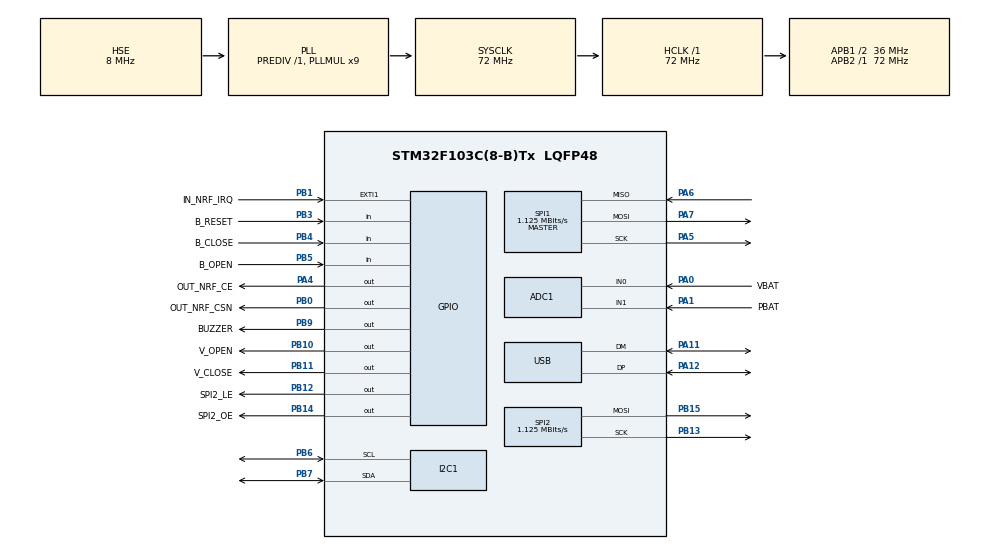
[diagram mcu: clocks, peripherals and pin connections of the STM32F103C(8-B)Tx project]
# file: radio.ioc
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ADC1.Channel-0\#ChannelRegularConversion=ADC_CHANNEL_0
ADC1.Channel-1\#ChannelRegularConversion=ADC_CHANNEL_1
ADC1.NbrOfConversion=2
ADC1.NbrOfConversionFlag=1
ADC1.Rank-0\#ChannelRegularConversion=1
ADC1.Rank-1\#ChannelRegularConversion=2
ADC1.SamplingTime-0\#ChannelRegularConversion=ADC_SAMPLETIME_239CYCLES_5
ADC1.SamplingTime-1\#ChannelRegularConversion=ADC_SAMPLETIME_239CYCLES_5
ADC1.master=1
Dma.ADC1.0.Direction=DMA_PERIPH_TO_MEMORY
Dma.ADC1.0.Instance=DMA1_Channel1
Dma.ADC1.0.MemDataAlignment=DMA_MDATAALIGN_WORD
Dma.ADC1.0.MemInc=DMA_MINC_ENABLE
Dma.ADC1.0.Mode=DMA_NORMAL
Dma.ADC1.0.PeriphDataAlignment=DMA_PDATAALIGN_WORD
Dma.ADC1.0.PeriphInc=DMA_PINC_DISABLE
Dma.ADC1.0.Priority=DMA_PRIORITY_LOW
Dma.Request0=ADC1
FREERTOS.Tasks01=defaultTask,24,128,StartDefaultTask,Default,NULL,Dynamic,NULL,NULL;Task01,24,128,StartTask01,Default,NULL,Dynamic,NULL,NULL;Task02,24,128,StartTask02,Default,NULL,Dynamic,NULL,NULL
Mcu.Family=STM32F1
Mcu.Name=STM32F103C(8-B)Tx
Mcu.Package=LQFP48
NVIC.ADC1_2_IRQn=true\:5\:0\:false\:false\:true\:true\:true\:true
NVIC.DMA1_Channel1_IRQn=true\:5\:0\:false\:false\:true\:true\:false\:true
NVIC.EXTI1_IRQn=true\:5\:0\:false\:false\:true\:false\:true\:true
NVIC.PriorityGroup=NVIC_PRIORITYGROUP_4
NVIC.SPI1_IRQn=true\:5\:0\:false\:false\:true\:false\:true\:true
NVIC.SPI2_IRQn=true\:5\:0\:false\:false\:true\:true\:true\:true
NVIC.TIM1_UP_IRQn=true\:15\:0\:false\:false\:true\:false\:false\:true
NVIC.TIM2_IRQn=true\:5\:0\:false\:false\:true\:false\:true\:true
NVIC.TIM3_IRQn=true\:5\:0\:false\:false\:true\:true\:true\:true
NVIC.TimeBase=TIM1_UP_IRQn
NVIC.TimeBaseIP=TIM1
NVIC.USB_HP_CAN1_TX_IRQn=true\:5\:0\:false\:false\:true\:true\:true\:true
NVIC.USB_LP_CAN1_RX0_IRQn=true\:5\:0\:false\:false\:true\:true\:true\:true
PA0-WKUP.GPIO_Label=VBAT
PA0-WKUP.Signal=ADCx_IN0
PA1.GPIO_Label=PBAT
PA1.Signal=ADCx_IN1
PA11.Mode=Device
PA11.Signal=USB_DM
PA12.Mode=Device
PA12.Signal=USB_DP
PA13.Mode=Serial_Wire
PA13.Signal=SYS_JTMS-SWDIO
PA14.Mode=Serial_Wire
PA14.Signal=SYS_JTCK-SWCLK
PA4.GPIO_Label=OUT_NRF_CE
PA4.GPIO_PuPd=GPIO_PULLDOWN
PA4.PinState=GPIO_PIN_RESET
PA4.Signal=GPIO_Output
PA5.Mode=Full_Duplex_Master
PA5.Signal=SPI1_SCK
PA6.Mode=Full_Duplex_Master
PA6.Signal=SPI1_MISO
PA7.Mode=Full_Duplex_Master
PA7.Signal=SPI1_MOSI
PB0.GPIO_Label=OUT_NRF_CSN
PB0.GPIO_PuPd=GPIO_PULLUP
PB0.GPIO_Speed=GPIO_SPEED_FREQ_LOW
PB0.PinState=GPIO_PIN_SET
PB0.Signal=GPIO_Output
PB1.GPIO_Label=IN_NRF_IRQ
PB1.GPIO_ModeDefaultEXTI=GPIO_MODE_IT_FALLING
PB1.GPIO_PuPd=GPIO_NOPULL
PB1.Signal=GPXTI1
PB10.GPIO_Label=V_OPEN
PB10.GPIO_PuPd=GPIO_PULLDOWN
PB10.Signal=GPIO_Output
PB11.GPIO_Label=V_CLOSE
PB11.GPIO_PuPd=GPIO_PULLDOWN
PB11.Signal=GPIO_Output
PB12.GPIO_Label=SPI2_LE
PB12.GPIO_PuPd=GPIO_PULLDOWN
PB12.PinState=GPIO_PIN_RESET
PB12.Signal=GPIO_Output
PB13.Mode=TX_Only_Simplex_Unidirect_Master
PB13.Signal=SPI2_SCK
PB14.GPIO_Label=SPI2_OE
PB14.GPIO_PuPd=GPIO_PULLUP
PB14.PinState=GPIO_PIN_SET
PB14.Signal=GPIO_Output
PB15.Mode=TX_Only_Simplex_Unidirect_Master
PB15.Signal=SPI2_MOSI
PB3.GPIO_Label=B_RESET
PB3.GPIO_PuPd=GPIO_PULLUP
PB3.Signal=GPIO_Input
PB4.GPIO_Label=B_CLOSE
PB4.GPIO_PuPd=GPIO_PULLUP
PB4.Signal=GPIO_Input
PB5.GPIO_Label=B_OPEN
PB5.GPIO_PuPd=GPIO_PULLUP
PB5.Signal=GPIO_Input
PB6.Mode=I2C
PB6.Signal=I2C1_SCL
PB7.Mode=I2C
PB7.Signal=I2C1_SDA
PB9.GPIO_Label=BUZZER
PB9.GPIO_PuPd=GPIO_PULLDOWN
PB9.Signal=GPIO_Output
PC14-OSC32_IN.Mode=LSE-External-Oscillator
PC14-OSC32_IN.Signal=RCC_OSC32_IN
PC15-OSC32_OUT.Mode=LSE-External-Oscillator
PC15-OSC32_OUT.Signal=RCC_OSC32_OUT
PD0-OSC_IN.Mode=HSE-External-Oscillator
PD0-OSC_IN.Signal=RCC_OSC_IN
PD1-OSC_OUT.Mode=HSE-External-Oscillator
PD1-OSC_OUT.Signal=RCC_OSC_OUT
ProjectManager.HeapSize=0x200
ProjectManager.StackSize=0x400
ProjectManager.TargetToolchain=MDK-ARM V5
RCC.ADCPresc=RCC_ADCPCLK2_DIV6
RCC.AHBFreq_Value=72000000
RCC.APB1CLKDivider=RCC_HCLK_DIV2
RCC.APB1Freq_Value=36000000
RCC.APB1TimFreq_Value=72000000
RCC.APB2Freq_Value=72000000
RCC.APB2TimFreq_Value=72000000
RCC.EnbaleCSS=true
RCC.HCLKFreq_Value=72000000
RCC.LSE_Timout=100
RCC.PLLMUL=RCC_PLL_MUL9
RCC.PLLSourceVirtual=RCC_PLLSOURCE_HSE
RCC.RTCClockSelection=RCC_RTCCLKSOURCE_LSE
RCC.SYSCLKFreq_VALUE=72000000
RCC.SYSCLKSource=RCC_SYSCLKSOURCE_PLLCLK
RCC.USBFreq_Value=48000000
RCC.USBPrescaler=RCC_USBCLKSOURCE_PLL_DIV1_5
RTC.Format=RTC_FORMAT_BIN
SH.ADCx_IN0.0=ADC1_IN0,IN0
SH.ADCx_IN1.0=ADC1_IN1,IN1
SPI1.BaudRatePrescaler=SPI_BAUDRATEPRESCALER_64
SPI1.CalculateBaudRate=1.125 MBits/s
SPI1.Direction=SPI_DIRECTION_2LINES
SPI1.Mode=SPI_MODE_MASTER
SPI1.VirtualType=VM_MASTER
SPI2.BaudRatePrescaler=SPI_BAUDRATEPRESCALER_32
SPI2.CalculateBaudRate=1.125 MBits/s
SPI2.Direction=SPI_DIRECTION_2LINES
SPI2.Mode=SPI_MODE_MASTER
SPI2.VirtualType=VM_MASTER
TIM2.Period=10
TIM2.Prescaler=7199
TIM3.Period=10
TIM3.Prescaler=7199
USB_DEVICE.APP_RX_DATA_SIZE=128
USB_DEVICE.APP_TX_DATA_SIZE=128
USB_DEVICE.CLASS_NAME_FS=CDC
USB_DEVICE.PRODUCT_STRING_CDC_FS=Water Leakage Controller
USB_DEVICE.USBD_MAX_STR_DESC_SIZ=64
USB_DEVICE.USBD_SELF_POWERED=1
USB_DEVICE.VirtualMode=Cdc
USB_DEVICE.VirtualModeFS=Cdc_FS
VP_FREERTOS_VS_CMSIS_V2.Mode=CMSIS_V2
VP_RTC_VS_RTC_Activate.Mode=RTC_Enabled
VP_SYS_VS_tim1.Mode=TIM1
VP_TIM2_VS_ClockSourceINT.Mode=Internal
VP_TIM3_VS_ClockSourceINT.Mode=Internal
VP_USB_DEVICE_VS_USB_DEVICE_CDC_FS.Mode=CDC_FS
board=custom

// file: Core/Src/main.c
/* USER CODE BEGIN Header */
/**
  ******************************************************************************
  * @file           : main.c
  * @brief          : Main program body
  ******************************************************************************
  * @attention
  *
  * <h2><center>&copy; Copyright (c) 2020 STMicroelectronics.
  * All rights reserved.</center></h2>
  *
  * This software component is licensed by ST under Ultimate Liberty license
  * SLA0044, the "License"; You may not use this file except in compliance with
  * the License. You may obtain a copy of the License at:
  *                             www.st.com/SLA0044
  *
  ******************************************************************************
  */
/* USER CODE END Header */
#include "main.h"
#include "cmsis_os.h"
#include "adc.h"
#include "dma.h"
#include "i2c.h"
#include "rtc.h"
#include "spi.h"
#include "tim.h"
#include "usb_device.h"
#include "gpio.h"

/* USER CODE BEGIN Includes */
#include "hal_my_lib.h"
#include "rtc.h"
/* USER CODE END Includes */

void SystemClock_Config(void);
void MX_FREERTOS_Init(void);

int main(void)
{

  /* MCU Configuration--------------------------------------------------------*/

  /* Reset of all peripherals, Initializes the Flash interface and the Systick. */
  HAL_Init();

  /* Configure the system clock */
  SystemClock_Config();

  /* Initialize all configured peripherals */
  MX_GPIO_Init();
  MX_RTC_Init();
  MX_SPI1_Init();
  MX_TIM2_Init();
  MX_DMA_Init();
  MX_ADC1_Init();
  MX_SPI2_Init();
  MX_I2C1_Init();
  MX_TIM3_Init();
  /* USER CODE BEGIN 2 */
//	if(MYLIB_READ_BIT(RCC->CSR, RCC_CSR_PORRSTF_Pos))
//	{
//		MYLIB_SET_BIT(RCC->CSR, RCC_CSR_RMVF_Pos);
//		HAL_NVIC_SystemReset();
//	}
  /* USER CODE END 2 */

  /* Init scheduler */
  osKernelInitialize();  /* Call init function for freertos objects (in freertos.c) */
  MX_FREERTOS_Init();
  /* Start scheduler */
  osKernelStart();

  /* We should never get here as control is now taken by the scheduler */
  /* Infinite loop */
  while (1)
  {

  }
}

void SystemClock_Config(void)
{
  RCC_OscInitTypeDef RCC_OscInitStruct = {0};
  RCC_ClkInitTypeDef RCC_ClkInitStruct = {0};
  RCC_PeriphCLKInitTypeDef PeriphClkInit = {0};

  /** Initializes the RCC Oscillators according to the specified parameters
  * in the RCC_OscInitTypeDef structure.
  */
  RCC_OscInitStruct.OscillatorType = RCC_OSCILLATORTYPE_HSE|RCC_OSCILLATORTYPE_LSE;
  RCC_OscInitStruct.HSEState = RCC_HSE_ON;
  RCC_OscInitStruct.HSEPredivValue = RCC_HSE_PREDIV_DIV1;
  RCC_OscInitStruct.LSEState = RCC_LSE_ON;
  RCC_OscInitStruct.HSIState = RCC_HSI_ON;
  RCC_OscInitStruct.PLL.PLLState = RCC_PLL_ON;
  RCC_OscInitStruct.PLL.PLLSource = RCC_PLLSOURCE_HSE;
  RCC_OscInitStruct.PLL.PLLMUL = RCC_PLL_MUL9;
  if (HAL_RCC_OscConfig(&RCC_OscInitStruct) != HAL_OK)
  {
    Error_Handler();
  }
  /** Initializes the CPU, AHB and APB buses clocks
  */
  RCC_ClkInitStruct.ClockType = RCC_CLOCKTYPE_HCLK|RCC_CLOCKTYPE_SYSCLK
                              |RCC_CLOCKTYPE_PCLK1|RCC_CLOCKTYPE_PCLK2;
  RCC_ClkInitStruct.SYSCLKSource = RCC_SYSCLKSOURCE_PLLCLK;
  RCC_ClkInitStruct.AHBCLKDivider = RCC_SYSCLK_DIV1;
  RCC_ClkInitStruct.APB1CLKDivider = RCC_HCLK_DIV2;
  RCC_ClkInitStruct.APB2CLKDivider = RCC_HCLK_DIV1;

  if (HAL_RCC_ClockConfig(&RCC_ClkInitStruct, FLASH_LATENCY_2) != HAL_OK)
  {
    Error_Handler();
  }
  PeriphClkInit.PeriphClockSelection = RCC_PERIPHCLK_RTC|RCC_PERIPHCLK_ADC
                              |RCC_PERIPHCLK_USB;
  PeriphClkInit.RTCClockSelection = RCC_RTCCLKSOURCE_LSE;
  PeriphClkInit.AdcClockSelection = RCC_ADCPCLK2_DIV6;
  PeriphClkInit.UsbClockSelection = RCC_USBCLKSOURCE_PLL_DIV1_5;
  if (HAL_RCCEx_PeriphCLKConfig(&PeriphClkInit) != HAL_OK)
  {
    Error_Handler();
  }
  /** Enables the Clock Security System
  */
  HAL_RCC_EnableCSS();
}

void HAL_TIM_PeriodElapsedCallback(TIM_HandleTypeDef *htim)
{
  if (htim->Instance == TIM1) {
    HAL_IncTick();
  }
}

void Error_Handler(void)
{
}

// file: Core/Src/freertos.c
/* USER CODE BEGIN Header */
/**
  ******************************************************************************
  * File Name          : freertos.c
  * Description        : Code for freertos applications
  ******************************************************************************
  * @attention
  *
  * <h2><center>&copy; Copyright (c) 2020 STMicroelectronics.
  * All rights reserved.</center></h2>
  *
  * This software component is licensed by ST under Ultimate Liberty license
  * SLA0044, the "License"; You may not use this file except in compliance with
  * the License. You may obtain a copy of the License at:
  *                             www.st.com/SLA0044
  *
  ******************************************************************************
  */
/* USER CODE END Header */

#include "FreeRTOS.h"
#include "task.h"
#include "main.h"
#include "cmsis_os.h"

/* USER CODE BEGIN Includes */
#include "hal_nrf24l01_api.h"
#include "hal_nrf24l01_drv.h"
#include "hal_mbus_ascii_slave.h"
#include "hal_mbus_ascii.h"
#include "hal_config.h"
#include "hal_flash.h"
#include "usbd_cdc_if.h"
#include "hal_control_devs.h"
#include "hal_algorithm.h"
#include "hal_buttons.h"
#include "hal_buzzer.h"
#include "hal_i2c_1602.h"
#include "hal_view_data.h"
#include "hal_my_rtc.h"
#include "hal_my_adc.h"
#include "spi.h"
#include "i2c.h"
#include "adc.h"
#include "tim.h"
/* USER CODE END Includes */

/* Definitions for defaultTask */
osThreadId_t defaultTaskHandle;
const osThreadAttr_t defaultTask_attributes = {
  .name = "defaultTask",
  .stack_size = 128 * 4,
  .priority = (osPriority_t) osPriorityNormal,
};
/* Definitions for Task01 */
osThreadId_t Task01Handle;
const osThreadAttr_t Task01_attributes = {
  .name = "Task01",
  .stack_size = 128 * 4,
  .priority = (osPriority_t) osPriorityNormal,
};
/* Definitions for Task02 */
osThreadId_t Task02Handle;
const osThreadAttr_t Task02_attributes = {
  .name = "Task02",
  .stack_size = 128 * 4,
  .priority = (osPriority_t) osPriorityNormal,
};

/* USER CODE BEGIN FunctionPrototypes */
void Init_All_Moduls(void);
void My_System_Reset(void);
void Jump_Boot_Loader(void);
/* USER CODE END FunctionPrototypes */

void StartDefaultTask(void *argument);
void StartTask01(void *argument);
void StartTask02(void *argument);

extern void MX_USB_DEVICE_Init(void);
void MX_FREERTOS_Init(void); /* (MISRA C 2004 rule 8.1) */

void MX_FREERTOS_Init(void) {
  /* USER CODE BEGIN Init */
	LCD1602_Init(&hi2c1);
	VD_Init();
	NRF24_Init(&hspi1, NRF24_TYPE_RX_TX_WHILE);
	ADC_Init(&hadc1);
	RTC_Init(&hrtc);
	ASCII_Init();
	CDD_Init();
	BTN_Init();
	BUZ_Init();
	ALG_Init();
	CFG_Init();
	HAL_TIM_Base_Start_IT(&htim2);
	HAL_TIM_Base_Start_IT(&htim3);
  /* USER CODE END Init */

  /* Create the thread(s) */
  /* creation of defaultTask */
  defaultTaskHandle = osThreadNew(StartDefaultTask, NULL, &defaultTask_attributes);

  /* creation of Task01 */
  Task01Handle = osThreadNew(StartTask01, NULL, &Task01_attributes);

//  /* creation of Task02 */
  Task02Handle = osThreadNew(StartTask02, NULL, &Task02_attributes);

}

void StartDefaultTask(void *argument)
{
  /* init code for USB_DEVICE */
  MX_USB_DEVICE_Init();
  /* USER CODE BEGIN StartDefaultTask */
  /* Infinite loop */
  for(;;)
  {
		static bool fl_init_hcdc_ok = false;

		if(!fl_init_hcdc_ok)
			if(hUsbDeviceFS.pClassData != NULL)
			{
				ASCII_Init_Port(     ASCII_IPORT_1,            		 ASCII_TYPE_PORT_USB_COM,
											  (u8*)hUsbDeviceFS.pClassData, 		 ASCII_MODE_PRTKL_SLAVE,
												(u8*)UserRxBufferFS,	        (u8*)UserTxBufferFS);

				fl_init_hcdc_ok = true;
			}
		ASCII_Handler();
		CDD_Handler();
		RTC_Handler();
		ADC_Handler();
		ALG_Handler();
  }
  /* USER CODE END StartDefaultTask */
}

void StartTask01(void *argument)
{
  /* USER CODE BEGIN StartTask01 */

  /* Infinite loop */
  for(;;)
  {
    NRF24_Stream_Handler();
  }
  /* USER CODE END StartTask01 */
}

void StartTask02(void *argument)
{
  /* USER CODE BEGIN StartTask02 */
  /* Infinite loop */
  for(;;)
  {
		VD_Handler_View();
		CFG_Handler();
  }
  /* USER CODE END StartTask02 */
}

/* USER CODE BEGIN Application */
/**
  * @brief
  */
void Init_All_Moduls(void)
{
//	__set_PRIMASK(1);
//	SCB->VTOR = (u32)0x08004800;
//	__set_PRIMASK(0);

	CFG_setup.uid_cpu[0] = HAL_GetUIDw0();
	CFG_setup.uid_cpu[1] = HAL_GetUIDw1();
	CFG_setup.uid_cpu[2] = HAL_GetUIDw2();
  CFG_Read_All_Cfg_And_Check_Stat();
}

/**
  * @brief
  */
void Jump_Boot_Loader(void)
{
	if(ASCII_Regs_Jump_BootLdr == 0xA55A &&
		 ASCII_Port[ASCII_IPORT_1].statTx != ASCII_STAT_TX_SEND)
	{
		HAL_NVIC_DisableIRQ(USB_HP_CAN1_TX_IRQn);
		HAL_NVIC_DisableIRQ(USB_LP_CAN1_RX0_IRQn);
		HAL_NVIC_DisableIRQ(EXTI1_IRQn);
		HAL_NVIC_DisableIRQ(TIM2_IRQn);
		HAL_NVIC_DisableIRQ(SPI1_IRQn);
		HAL_NVIC_DisableIRQ(RTC_IRQn);
		HAL_NVIC_DisableIRQ(RCC_IRQn);
		HAL_DeInit();
		Flash_Jump_Adress(0x08000000);
	}
}

/**
  * @brief
  */
void My_System_Reset(void)
{
	if(ASCII_Regs_Jump_BootLdr == 0xF00F &&
		 ASCII_Port[ASCII_IPORT_1].statTx != ASCII_STAT_TX_SEND)
		HAL_NVIC_SystemReset();
}
/* USER CODE END Application */
